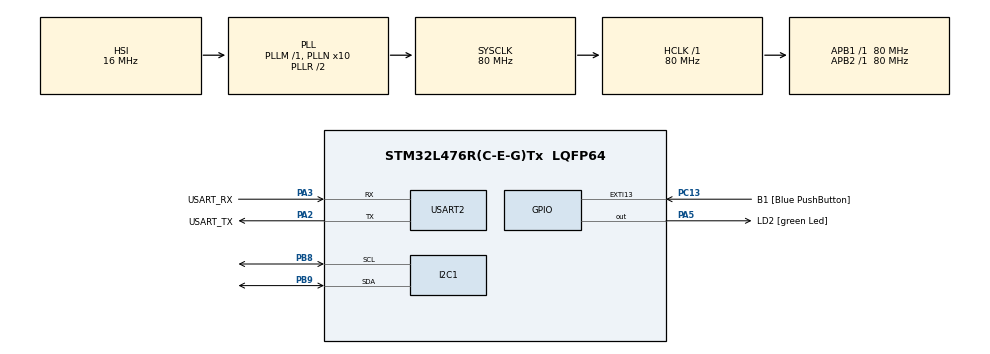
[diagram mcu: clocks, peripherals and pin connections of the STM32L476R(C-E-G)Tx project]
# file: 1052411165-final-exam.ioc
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I2C1.Timing=0x10909CEC
Mcu.Family=STM32L4
Mcu.Name=STM32L476R(C-E-G)Tx
Mcu.Package=LQFP64
NVIC.PriorityGroup=NVIC_PRIORITYGROUP_4
NVIC.USART2_IRQn=true\:0\:0\:false\:false\:true\:true\:true\:true
PA13\ (JTMS-SWDIO).GPIO_Label=TMS
PA13\ (JTMS-SWDIO).Mode=Serial_Wire
PA13\ (JTMS-SWDIO).Signal=SYS_JTMS-SWDIO
PA14\ (JTCK-SWCLK).GPIO_Label=TCK
PA14\ (JTCK-SWCLK).Mode=Serial_Wire
PA14\ (JTCK-SWCLK).Signal=SYS_JTCK-SWCLK
PA2.GPIO_Label=USART_TX
PA2.GPIO_Mode=GPIO_MODE_AF_PP
PA2.GPIO_PuPd=GPIO_NOPULL
PA2.GPIO_Speed=GPIO_SPEED_FREQ_VERY_HIGH
PA2.Mode=Asynchronous
PA2.Signal=USART2_TX
PA3.GPIO_Label=USART_RX
PA3.GPIO_Mode=GPIO_MODE_AF_PP
PA3.GPIO_PuPd=GPIO_NOPULL
PA3.GPIO_Speed=GPIO_SPEED_FREQ_VERY_HIGH
PA3.Mode=Asynchronous
PA3.Signal=USART2_RX
PA5.GPIO_Label=LD2 [green Led]
PA5.GPIO_ModeDefaultOutputPP=GPIO_MODE_OUTPUT_PP
PA5.GPIO_PuPd=GPIO_NOPULL
PA5.GPIO_Speed=GPIO_SPEED_FREQ_LOW
PA5.Signal=GPIO_Output
PB3\ (JTDO-TRACESWO).GPIO_Label=SWO
PB3\ (JTDO-TRACESWO).Signal=SYS_JTDO-SWO
PB8.Mode=I2C
PB8.Signal=I2C1_SCL
PB9.Mode=I2C
PB9.Signal=I2C1_SDA
PC13.GPIO_Label=B1 [Blue PushButton]
PC13.GPIO_ModeDefaultEXTI=GPIO_MODE_IT_FALLING
PC13.GPIO_PuPd=GPIO_NOPULL
PC13.Signal=GPXTI13
PC14-OSC32_IN\ (PC14).Mode=LSE-External-Oscillator
PC14-OSC32_IN\ (PC14).Signal=RCC_OSC32_IN
PC15-OSC32_OUT\ (PC15).Mode=LSE-External-Oscillator
PC15-OSC32_OUT\ (PC15).Signal=RCC_OSC32_OUT
PH0-OSC_IN\ (PH0).Signal=RCC_OSC_IN
PH1-OSC_OUT\ (PH1).Signal=RCC_OSC_OUT
ProjectManager.HeapSize=0x200
ProjectManager.StackSize=0x400
ProjectManager.TargetToolchain=STM32CubeIDE
RCC.ADCFreq_Value=64000000
RCC.AHBFreq_Value=80000000
RCC.APB1Freq_Value=80000000
RCC.APB1TimFreq_Value=80000000
RCC.APB2Freq_Value=80000000
RCC.APB2TimFreq_Value=80000000
RCC.CortexFreq_Value=80000000
RCC.HCLKFreq_Value=80000000
RCC.HSE_VALUE=8000000
RCC.HSI_VALUE=16000000
RCC.MSI_VALUE=4000000
RCC.PLLN=10
RCC.PLLSourceVirtual=RCC_PLLSOURCE_HSI
RCC.PREFETCH_ENABLE=1
RCC.SYSCLKFreq_VALUE=80000000
RCC.SYSCLKSource=RCC_SYSCLKSOURCE_PLLCLK
RCC.USBFreq_Value=64000000
RCC.VCOOutputFreq_Value=160000000
USART2.VirtualMode-Asynchronous=VM_ASYNC
board=NUCLEO-L476RG

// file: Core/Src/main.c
/* USER CODE BEGIN Header */
/**
  ******************************************************************************
  * @file           : main.c
  * @brief          : Main program body
  ******************************************************************************
  * @attention
  *
  * Copyright (c) 2023 STMicroelectronics.
  * All rights reserved.
  *
  * This software is licensed under terms that can be found in the LICENSE file
  * in the root directory of this software component.
  * If no LICENSE file comes with this software, it is provided AS-IS.
  *
  ******************************************************************************
  */
/* USER CODE END Header */
#include "main.h"

/* USER CODE BEGIN Includes */
#include "esp8266.h"
#include "ssd_1306.h"
#include <stdio.h>
#include <string.h> // Para memset
/* USER CODE END Includes */

I2C_HandleTypeDef hi2c1;
uint8_t message[10];
USART2_t Rx_data;
#define password 1052411165

void SystemClock_Config(void);
static void MX_GPIO_Init(void);
static void MX_USART2_UART_Init(void);
static void MX_I2C1_Init(void);

/* USER CODE BEGIN 0 */
int _write(int file, char *ptr, int len)
{
  // send each byte in blocking mode
  for (uint8_t idx = 0; idx < len; idx++) {
	  while (LL_USART_IsActiveFlag_TXE(USART2) == 0) {
		  // wait until Tx Empty flag becomes true
		  // TODO: add timeout
	  }
	  LL_USART_TransmitData8(USART2, ptr[idx]);
  }
  return len;
}
/*
void Rx_USART2(ring_buffer_t *ring_buffer) {
    if (LL_USART_IsActiveFlag_RXNE(USART2)){
        uint8_t received_data = LL_USART_ReceiveData8(USART2);
        ring_buffer_put(ring_buffer, received_data);
        printf("data %d \r\n", received_data);
    }
}*/
/* USER CODE END 0 */

int main(void)
{

  /* MCU Configuration--------------------------------------------------------*/

  /* Reset of all peripherals, Initializes the Flash interface and the Systick. */
  HAL_Init();

  /* Configure the system clock */
  SystemClock_Config();

  /* Initialize all configured peripherals */
  MX_GPIO_Init();
  MX_USART2_UART_Init();
  MX_I2C1_Init();
  /* USER CODE BEGIN 2 */
  GUI_init();
  Rx_USART2_init(&Rx_data, message, 10);
  /* USER CODE END 2 */

  /* Infinite loop */
  /* USER CODE BEGIN WHILE */
  while (1)
  {
	  Rx_USART2(&Rx_data);
	  int numero = 0;
	  for (int i = 0; i < 10; i++)
	  {
		numero = numero * 10 + (message[i]-0); // hex to dec
	  }

		  if(numero == password){
			  GUI_Success();
			  HAL_Delay(10000);
			  Rx_USART2_reset(&Rx_data);
			  memset(message, 0, sizeof(message));
		  }

    /* USER CODE END WHILE */

  }
}

void SystemClock_Config(void)
{
  RCC_OscInitTypeDef RCC_OscInitStruct = {0};
  RCC_ClkInitTypeDef RCC_ClkInitStruct = {0};

  /** Configure the main internal regulator output voltage
  */
  if (HAL_PWREx_ControlVoltageScaling(PWR_REGULATOR_VOLTAGE_SCALE1) != HAL_OK)
  {
    Error_Handler();
  }

  /** Initializes the RCC Oscillators according to the specified parameters
  * in the RCC_OscInitTypeDef structure.
  */
  RCC_OscInitStruct.OscillatorType = RCC_OSCILLATORTYPE_HSI;
  RCC_OscInitStruct.HSIState = RCC_HSI_ON;
  RCC_OscInitStruct.HSICalibrationValue = RCC_HSICALIBRATION_DEFAULT;
  RCC_OscInitStruct.PLL.PLLState = RCC_PLL_ON;
  RCC_OscInitStruct.PLL.PLLSource = RCC_PLLSOURCE_HSI;
  RCC_OscInitStruct.PLL.PLLM = 1;
  RCC_OscInitStruct.PLL.PLLN = 10;
  RCC_OscInitStruct.PLL.PLLP = RCC_PLLP_DIV7;
  RCC_OscInitStruct.PLL.PLLQ = RCC_PLLQ_DIV2;
  RCC_OscInitStruct.PLL.PLLR = RCC_PLLR_DIV2;
  if (HAL_RCC_OscConfig(&RCC_OscInitStruct) != HAL_OK)
  {
    Error_Handler();
  }

  /** Initializes the CPU, AHB and APB buses clocks
  */
  RCC_ClkInitStruct.ClockType = RCC_CLOCKTYPE_HCLK|RCC_CLOCKTYPE_SYSCLK
                              |RCC_CLOCKTYPE_PCLK1|RCC_CLOCKTYPE_PCLK2;
  RCC_ClkInitStruct.SYSCLKSource = RCC_SYSCLKSOURCE_PLLCLK;
  RCC_ClkInitStruct.AHBCLKDivider = RCC_SYSCLK_DIV1;
  RCC_ClkInitStruct.APB1CLKDivider = RCC_HCLK_DIV1;
  RCC_ClkInitStruct.APB2CLKDivider = RCC_HCLK_DIV1;

  if (HAL_RCC_ClockConfig(&RCC_ClkInitStruct, FLASH_LATENCY_4) != HAL_OK)
  {
    Error_Handler();
  }
}

static void MX_I2C1_Init(void)
{

  hi2c1.Instance = I2C1;
  hi2c1.Init.Timing = 0x10909CEC;
  hi2c1.Init.OwnAddress1 = 0;
  hi2c1.Init.AddressingMode = I2C_ADDRESSINGMODE_7BIT;
  hi2c1.Init.DualAddressMode = I2C_DUALADDRESS_DISABLE;
  hi2c1.Init.OwnAddress2 = 0;
  hi2c1.Init.OwnAddress2Masks = I2C_OA2_NOMASK;
  hi2c1.Init.GeneralCallMode = I2C_GENERALCALL_DISABLE;
  hi2c1.Init.NoStretchMode = I2C_NOSTRETCH_DISABLE;
  if (HAL_I2C_Init(&hi2c1) != HAL_OK)
  {
    Error_Handler();
  }

  /** Configure Analogue filter
  */
  if (HAL_I2CEx_ConfigAnalogFilter(&hi2c1, I2C_ANALOGFILTER_ENABLE) != HAL_OK)
  {
    Error_Handler();
  }

  /** Configure Digital filter
  */
  if (HAL_I2CEx_ConfigDigitalFilter(&hi2c1, 0) != HAL_OK)
  {
    Error_Handler();
  }

}

static void MX_USART2_UART_Init(void)
{

  LL_USART_InitTypeDef USART_InitStruct = {0};

  LL_GPIO_InitTypeDef GPIO_InitStruct = {0};
  RCC_PeriphCLKInitTypeDef PeriphClkInit = {0};

  /** Initializes the peripherals clock
  */
  PeriphClkInit.PeriphClockSelection = RCC_PERIPHCLK_USART2;
  PeriphClkInit.Usart2ClockSelection = RCC_USART2CLKSOURCE_PCLK1;
  if (HAL_RCCEx_PeriphCLKConfig(&PeriphClkInit) != HAL_OK)
  {
    Error_Handler();
  }

  /* Peripheral clock enable */
  LL_APB1_GRP1_EnableClock(LL_APB1_GRP1_PERIPH_USART2);

  LL_AHB2_GRP1_EnableClock(LL_AHB2_GRP1_PERIPH_GPIOA);
  /**USART2 GPIO Configuration
  PA2   ------> USART2_TX
  PA3   ------> USART2_RX
  */
  GPIO_InitStruct.Pin = LL_GPIO_PIN_2|LL_GPIO_PIN_3;
  GPIO_InitStruct.Mode = LL_GPIO_MODE_ALTERNATE;
  GPIO_InitStruct.Speed = LL_GPIO_SPEED_FREQ_VERY_HIGH;
  GPIO_InitStruct.OutputType = LL_GPIO_OUTPUT_PUSHPULL;
  GPIO_InitStruct.Pull = LL_GPIO_PULL_NO;
  GPIO_InitStruct.Alternate = LL_GPIO_AF_7;
  LL_GPIO_Init(GPIOA, &GPIO_InitStruct);

  /* USART2 interrupt Init */
  NVIC_SetPriority(USART2_IRQn, NVIC_EncodePriority(NVIC_GetPriorityGrouping(),0, 0));
  NVIC_EnableIRQ(USART2_IRQn);

  USART_InitStruct.BaudRate = 115200;
  USART_InitStruct.DataWidth = LL_USART_DATAWIDTH_8B;
  USART_InitStruct.StopBits = LL_USART_STOPBITS_1;
  USART_InitStruct.Parity = LL_USART_PARITY_NONE;
  USART_InitStruct.TransferDirection = LL_USART_DIRECTION_TX_RX;
  USART_InitStruct.HardwareFlowControl = LL_USART_HWCONTROL_NONE;
  USART_InitStruct.OverSampling = LL_USART_OVERSAMPLING_16;
  LL_USART_Init(USART2, &USART_InitStruct);
  LL_USART_ConfigAsyncMode(USART2);
  LL_USART_Enable(USART2);

}

static void MX_GPIO_Init(void)
{
  GPIO_InitTypeDef GPIO_InitStruct = {0};

  /* GPIO Ports Clock Enable */
  __HAL_RCC_GPIOC_CLK_ENABLE();
  __HAL_RCC_GPIOH_CLK_ENABLE();
  __HAL_RCC_GPIOA_CLK_ENABLE();
  __HAL_RCC_GPIOB_CLK_ENABLE();

  /*Configure GPIO pin Output Level */
  HAL_GPIO_WritePin(LD2_GPIO_Port, LD2_Pin, GPIO_PIN_RESET);

  /*Configure GPIO pin : B1_Pin */
  GPIO_InitStruct.Pin = B1_Pin;
  GPIO_InitStruct.Mode = GPIO_MODE_IT_FALLING;
  GPIO_InitStruct.Pull = GPIO_NOPULL;
  HAL_GPIO_Init(B1_GPIO_Port, &GPIO_InitStruct);

  /*Configure GPIO pin : LD2_Pin */
  GPIO_InitStruct.Pin = LD2_Pin;
  GPIO_InitStruct.Mode = GPIO_MODE_OUTPUT_PP;
  GPIO_InitStruct.Pull = GPIO_NOPULL;
  GPIO_InitStruct.Speed = GPIO_SPEED_FREQ_LOW;
  HAL_GPIO_Init(LD2_GPIO_Port, &GPIO_InitStruct);

}

void Error_Handler(void)
{
  __disable_irq();
  while (1)
  {
  }
}
